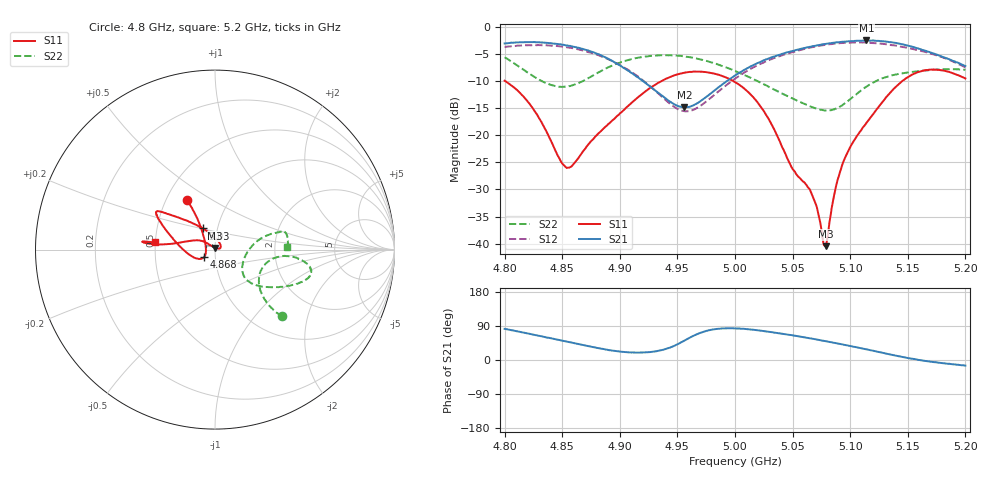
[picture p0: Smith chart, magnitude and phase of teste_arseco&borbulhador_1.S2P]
! Network Analyzer HP8722D
! Hewlett-Packard
! Data name: Linha & Wilkinson
! Saver's name: Rodrigo Anjos
! Comments: Teste da utilização de aquisição
! continua pelo VNA HP8722D
! Time and date: 15/4/2025 15:38
!  Frequency  S11  S21  S12  S22
# HZ  S  MA R 50
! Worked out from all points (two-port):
!   401 points, 4.8 GHz to 5.2 GHz, reference 50 ohm
!   highest |S21| = -2.44 dB at 5.114 GHz (marker M1); lowest = -14.8 dB at 4.956 GHz (marker M2)
!   |S21| within 3 dB of the highest: start of sweep to 4.886 GHz; 5.033 GHz to 5.18 GHz (146.5 MHz wide, 2.87 % of centre)
!   lowest |S11| = -40.5 dB at 5.079 GHz (marker M3), VSWR 1.02, Z = 50.1 + j0.943 ohm
!   |S11| at or under -10 dB: 4.801 GHz to 4.936 GHz (134.8 MHz wide, 2.77 % of centre); 4.999 GHz to 5.145 GHz (146 MHz wide, 2.88 % of centre)
!   |S22| runs from -15.4 to -5.2 dB; largest |S21 - S12| = 1
!   S11 on the Smith chart (normalised r, x): 4.8 GHz: 0.63, +0.39; 4.868 GHz: 0.89, -0.07; 5.03 GHz: 0.85, +0.20; 5.2 GHz: 0.50, +0.05
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4.8e9  0.3202 119.5  0.7077 82.1  0.6595 -12.1  0.5267 -44.9
4.824e9  0.1811 120.3  0.7296 67.5  0.6842 -22.5  0.3574 -43.3
4.852e9  0.05244 167.9  0.6854 49.7  0.6585 -35.8  0.2822 -22.6
4.858e9  0.05155 -167.1  0.6668 46.0  0.6433 -38.9  0.2884 -17.4
4.867e9  0.06864 -147.0  0.6338 40.3  0.6132 -43.6  0.3146 -10.6
4.868e9  0.07107 -146.3  0.6289 39.7  0.6094 -44.2  0.3178 -10.0
4.901e9  0.1624 -175.1  0.4375 22.1  0.4409 -60.8  0.4755 -6.4
4.934e9  0.3086 156.5  0.244 24.5  0.2416 -63.1  0.5493 -12.6
4.956e9  0.3793 149.1  0.1819 51.1  0.1673 -35.4  0.5369 -17.7
5e9  0.3118 141.8  0.3572 83.4  0.3345 5.5  0.394 -32.0
5.03e9  0.1366 120.2  0.5175 74.2  0.4984 0.3  0.2782 -42.6
5.049e9  0.05106 70.5  0.5988 65.8  0.5857 -6.7  0.2222 -42.8
5.067e9  0.02822 14.1  0.6678 56.3  0.6549 -15.3  0.1821 -34.1
5.072e9  0.01954 14.8  0.6812 53.6  0.6703 -17.9  0.1754 -29.1
5.077e9  0.009779 47.5  0.6982 50.7  0.6838 -20.7  0.1706 -22.9
5.079e9  0.009462 84.2  0.7021 49.5  0.6892 -22.0  0.1698 -20.2
5.087e9  0.0313 135.3  0.7214 44.7  0.7053 -26.8  0.1761 -8.2
5.093e9  0.05307 140.2  0.7339 41.1  0.7144 -30.5  0.1892 -0.0
5.114e9  0.1301 156.9  0.7549 28.1  0.7197 -44.1  0.282 14.6
5.134e9  0.2432 172.3  0.7287 15.2  0.6894 -56.4  0.3538 15.3
5.164e9  0.3974 174.3  0.6131 -2.0  0.5953 -71.3  0.3978 14.8
5.2e9  0.3361 172.9  0.4384 -14.7  0.4247 -83.3  0.4037 2.0
